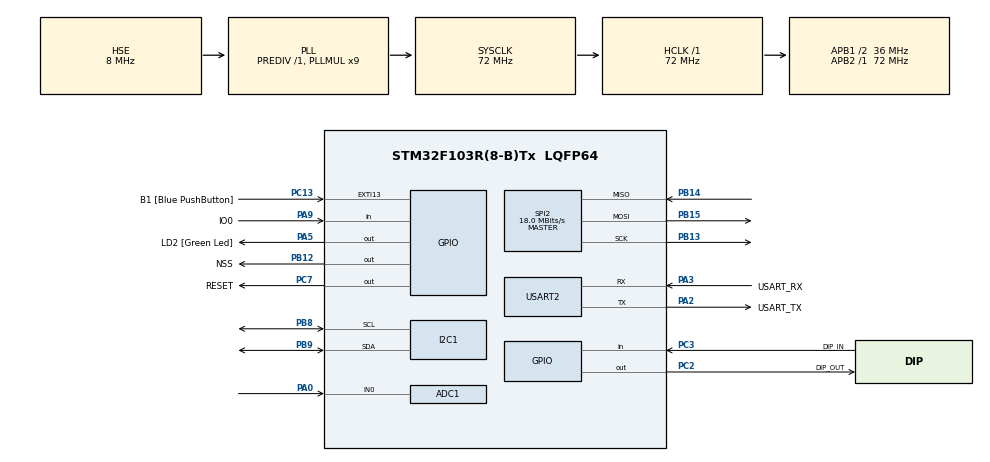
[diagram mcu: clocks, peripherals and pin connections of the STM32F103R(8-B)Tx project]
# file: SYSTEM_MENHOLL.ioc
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ADC1.Channel-0\#ChannelRegularConversion=ADC_CHANNEL_0
ADC1.NbrOfConversionFlag=1
ADC1.Rank-0\#ChannelRegularConversion=1
ADC1.SamplingTime-0\#ChannelRegularConversion=ADC_SAMPLETIME_1CYCLE_5
ADC1.master=1
Mcu.Family=STM32F1
Mcu.Name=STM32F103R(8-B)Tx
Mcu.Package=LQFP64
NVIC.EXTI15_10_IRQn=true\:0\:0\:false\:false\:true\:true\:true
NVIC.PriorityGroup=NVIC_PRIORITYGROUP_4
PA0-WKUP.Signal=ADCx_IN0
PA13.GPIO_Label=TMS
PA13.Mode=Serial_Wire
PA13.Signal=SYS_JTMS-SWDIO
PA14.GPIO_Label=TCK
PA14.Mode=Serial_Wire
PA14.Signal=SYS_JTCK-SWCLK
PA2.GPIO_Label=USART_TX
PA2.GPIO_Mode=GPIO_MODE_AF_PP
PA2.GPIO_PuPd=GPIO_NOPULL
PA2.GPIO_Speed=GPIO_SPEED_FREQ_LOW
PA2.Mode=Asynchronous
PA2.Signal=USART2_TX
PA3.GPIO_Label=USART_RX
PA3.GPIO_Mode=GPIO_MODE_AF_PP
PA3.GPIO_PuPd=GPIO_NOPULL
PA3.GPIO_Speed=GPIO_SPEED_FREQ_LOW
PA3.Mode=Asynchronous
PA3.Signal=USART2_RX
PA5.GPIO_Label=LD2 [Green Led]
PA5.GPIO_ModeDefaultOutputPP=GPIO_MODE_OUTPUT_PP
PA5.GPIO_PuPd=GPIO_NOPULL
PA5.GPIO_Speed=GPIO_SPEED_FREQ_LOW
PA5.Signal=GPIO_Output
PA9.GPIO_Label=IO0
PA9.Signal=GPIO_Input
PB12.GPIO_Label=NSS
PB12.PinState=GPIO_PIN_SET
PB12.Signal=GPIO_Output
PB13.Mode=Full_Duplex_Master
PB13.Signal=SPI2_SCK
PB14.Mode=Full_Duplex_Master
PB14.Signal=SPI2_MISO
PB15.Mode=Full_Duplex_Master
PB15.Signal=SPI2_MOSI
PB3.GPIO_Label=SWO
PB3.Signal=SYS_JTDO-TRACESWO
PB8.Mode=I2C
PB8.Signal=I2C1_SCL
PB9.Mode=I2C
PB9.Signal=I2C1_SDA
PC13-TAMPER-RTC.GPIO_Label=B1 [Blue PushButton]
PC13-TAMPER-RTC.GPIO_PuPd=GPIO_NOPULL
PC13-TAMPER-RTC.Signal=GPXTI13
PC14-OSC32_IN.Mode=LSE-External-Oscillator
PC14-OSC32_IN.Signal=RCC_OSC32_IN
PC15-OSC32_OUT.Mode=LSE-External-Oscillator
PC15-OSC32_OUT.Signal=RCC_OSC32_OUT
PC2.GPIO_Label=DIP_OUT
PC2.PinState=GPIO_PIN_RESET
PC2.Signal=GPIO_Output
PC3.GPIO_Label=DIP_IN
PC3.Signal=GPIO_Input
PC7.GPIO_Label=RESET
PC7.Signal=GPIO_Output
PD0-OSC_IN.Mode=HSE-External-Clock-Source
PD0-OSC_IN.Signal=RCC_OSC_IN
PD1-OSC_OUT.Mode=HSE-External-Clock-Source
PD1-OSC_OUT.Signal=RCC_OSC_OUT
ProjectManager.HeapSize=0x200
ProjectManager.StackSize=0x400
ProjectManager.TargetToolchain=EWARM V8.32
RCC.ADCPresc=RCC_ADCPCLK2_DIV6
RCC.AHBFreq_Value=72000000
RCC.APB1CLKDivider=RCC_HCLK_DIV2
RCC.APB1Freq_Value=36000000
RCC.APB1TimFreq_Value=72000000
RCC.APB2Freq_Value=72000000
RCC.APB2TimFreq_Value=72000000
RCC.HCLKFreq_Value=72000000
RCC.PLLMUL=RCC_PLL_MUL9
RCC.PLLSourceVirtual=RCC_PLLSOURCE_HSE
RCC.RTCClockSelection=RCC_RTCCLKSOURCE_LSE
RCC.SYSCLKFreq_VALUE=72000000
RCC.SYSCLKSource=RCC_SYSCLKSOURCE_PLLCLK
RCC.USBFreq_Value=72000000
SH.ADCx_IN0.0=ADC1_IN0,IN0
SPI2.BaudRatePrescaler=SPI_BAUDRATEPRESCALER_2
SPI2.CalculateBaudRate=18.0 MBits/s
SPI2.Direction=SPI_DIRECTION_2LINES
SPI2.Mode=SPI_MODE_MASTER
SPI2.VirtualType=VM_MASTER
USART2.VirtualMode=VM_ASYNC
VP_RTC_VS_RTC_Activate.Mode=RTC_Enabled
board=NUCLEO-F103RB

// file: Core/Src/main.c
/* USER CODE BEGIN Header */
/**
  ******************************************************************************
  * @file           : main.c
  * @brief          : Main program body
  ******************************************************************************
  * @attention
  *
  * Copyright (c) 2022 STMicroelectronics.
  * All rights reserved.
  *
  * This software is licensed under terms that can be found in the LICENSE file
  * in the root directory of this software component.
  * If no LICENSE file comes with this software, it is provided AS-IS.
  *
  ******************************************************************************
  */
/* USER CODE END Header */
#include "main.h"
#include "adc.h"
#include "i2c.h"
#include "rtc.h"
#include "spi.h"
#include "usart.h"
#include "gpio.h"

/* USER CODE BEGIN Includes */
#include <stdio.h>
#include "SX1278.h"
#include "sx1276.h"
#include "eco_sensor.h"

/* USER CODE END Includes */

/* USER CODE BEGIN PM */

int putchar(int ch)
{
    while(HAL_OK != HAL_UART_Transmit(&huart2, (uint8_t *)&ch, 1,3000))
    {}
    return ch;
    HAL_Delay(100);
}

/* USER CODE END PM */

/* USER CODE BEGIN PV */
SX1278_hw_t SX1278_hw;
SX1278_t SX1278;

int master;
int ret;
///////

/* USER CODE END PV */

void SystemClock_Config(void);

int main(void)
{

  /* MCU Configuration--------------------------------------------------------*/

  /* Reset of all peripherals, Initializes the Flash interface and the Systick. */
  HAL_Init();

  /* Configure the system clock */
  SystemClock_Config();

  /* Initialize all configured peripherals */
  MX_GPIO_Init();
  MX_USART2_UART_Init();
  MX_SPI2_Init();
  MX_I2C1_Init();
  MX_ADC1_Init();
  MX_RTC_Init();
  /* USER CODE BEGIN 2 */

	HAL_Delay(1000);
	//ADS1115_Init();
    SX1276_Init(922000000, SF_07, KHZ_125, RATE_4_5, CRC_ENABLE);//920125000

	if(m_sx1276.device == TX_DEVICE)
	{
		SX1276_TX_Entry(16, 2000);
	}
	else
	{
		SX1276_RX_Entry(2000);
	}

  /* USER CODE END 2 */

  /* Infinite loop */
  while (1)
  {

    /* USER CODE BEGIN 3 */

	//Eco_Config();

	//Lora_config();

	 //Master_Send();
	  //Gateway_Receive();
	  Lora_Poling_Send_Msg("<G>", ret++);
	  HAL_Delay(1000);
	//Node_Receive();

  }
  /* USER CODE END 3 */
}

void SystemClock_Config(void)
{
  RCC_OscInitTypeDef RCC_OscInitStruct = {0};
  RCC_ClkInitTypeDef RCC_ClkInitStruct = {0};
  RCC_PeriphCLKInitTypeDef PeriphClkInit = {0};

  /** Initializes the RCC Oscillators according to the specified parameters
  * in the RCC_OscInitTypeDef structure.
  */
  RCC_OscInitStruct.OscillatorType = RCC_OSCILLATORTYPE_HSE|RCC_OSCILLATORTYPE_LSE;
  RCC_OscInitStruct.HSEState = RCC_HSE_BYPASS;
  RCC_OscInitStruct.HSEPredivValue = RCC_HSE_PREDIV_DIV1;
  RCC_OscInitStruct.LSEState = RCC_LSE_ON;
  RCC_OscInitStruct.HSIState = RCC_HSI_ON;
  RCC_OscInitStruct.PLL.PLLState = RCC_PLL_ON;
  RCC_OscInitStruct.PLL.PLLSource = RCC_PLLSOURCE_HSE;
  RCC_OscInitStruct.PLL.PLLMUL = RCC_PLL_MUL9;
  if (HAL_RCC_OscConfig(&RCC_OscInitStruct) != HAL_OK)
  {
    Error_Handler();
  }
  /** Initializes the CPU, AHB and APB buses clocks
  */
  RCC_ClkInitStruct.ClockType = RCC_CLOCKTYPE_HCLK|RCC_CLOCKTYPE_SYSCLK
                              |RCC_CLOCKTYPE_PCLK1|RCC_CLOCKTYPE_PCLK2;
  RCC_ClkInitStruct.SYSCLKSource = RCC_SYSCLKSOURCE_PLLCLK;
  RCC_ClkInitStruct.AHBCLKDivider = RCC_SYSCLK_DIV1;
  RCC_ClkInitStruct.APB1CLKDivider = RCC_HCLK_DIV2;
  RCC_ClkInitStruct.APB2CLKDivider = RCC_HCLK_DIV1;

  if (HAL_RCC_ClockConfig(&RCC_ClkInitStruct, FLASH_LATENCY_2) != HAL_OK)
  {
    Error_Handler();
  }
  PeriphClkInit.PeriphClockSelection = RCC_PERIPHCLK_RTC|RCC_PERIPHCLK_ADC;
  PeriphClkInit.RTCClockSelection = RCC_RTCCLKSOURCE_LSE;
  PeriphClkInit.AdcClockSelection = RCC_ADCPCLK2_DIV6;
  if (HAL_RCCEx_PeriphCLKConfig(&PeriphClkInit) != HAL_OK)
  {
    Error_Handler();
  }
}

void Error_Handler(void)
{
  __disable_irq();
  while (1)
  {
  }
}
